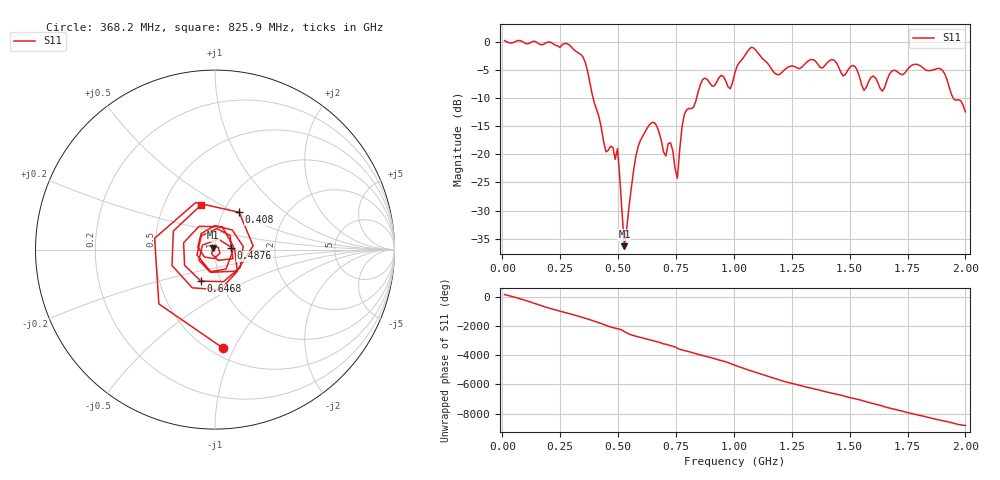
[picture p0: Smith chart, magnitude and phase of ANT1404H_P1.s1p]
!Created with skrf (http://scikit-rf.org).
# Hz S RI R 50.0
!freq ReS11 ImS11
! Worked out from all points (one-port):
!   201 points, 10 MHz to 2 GHz, reference 50 ohm
!   lowest |S11| = -36.3 dB at 527.4 MHz (marker M1), VSWR 1.03, Z = 49 + j1.08 ohm
!   |S11| at or under -10 dB: 392.3 MHz to 839.2 MHz (446.9 MHz wide, 72.6 % of centre); 1.948 GHz to end of sweep
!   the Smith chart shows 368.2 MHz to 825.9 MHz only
!   S11 on the Smith chart (normalised r, x): 368.2 MHz: 0.57, -0.90; 408 MHz: 1.18, +0.52; 487.6 MHz: 1.20, +0.02; 646.8 MHz: 0.81, -0.29; 825.9 MHz: 0.76, +0.41
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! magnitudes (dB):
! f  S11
! 10 MHz  0.2
! 258.8 MHz  -0.5
! 368.2 MHz  -5.2
! 408 MHz  -12.1
! 447.8 MHz  -19.6
! 487.6 MHz  -20.9
! 497.6 MHz  -19.0
! 507.5 MHz  -24.2
! 527.4 MHz  -36.3
! 577.1 MHz  -20.3
! 646.8 MHz  -14.3
! 706.5 MHz  -20.3
! 726.4 MHz  -17.9
! 756.2 MHz  -24.2
! 786.1 MHz  -12.9
! 825.9 MHz  -11.7
! 865.7 MHz  -6.7
! 985.1 MHz  -8.4
! 1.005 GHz  -5.4
! 1.075 GHz  -1.0
! 1.184 GHz  -5.8
! 1.254 GHz  -4.3
! 1.502 GHz  -4.5
! 1.562 GHz  -8.6
! 1.642 GHz  -8.8
! 1.751 GHz  -4.8
! 1.901 GHz  -5.1
! 2 GHz  -12.5
